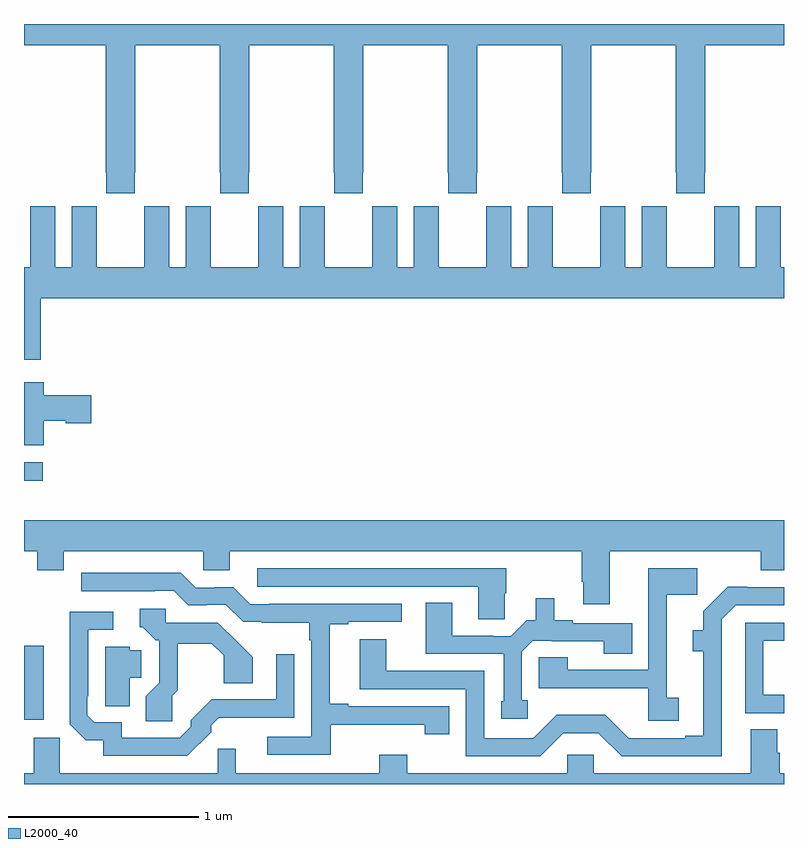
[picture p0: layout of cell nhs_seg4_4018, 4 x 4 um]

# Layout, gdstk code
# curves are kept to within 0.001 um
import gdstk
lib = gdstk.Library(unit=1e-6, precision=1e-09)
def R(c, l, rs):  # rectangles x0, y0, x1, y1
    for r in rs: c.add(gdstk.rectangle(r[:2], r[2:], *l))
def P(c, l, *ps):  # polygons
    for p in ps: c.add(gdstk.Polygon(p, *l))
L2000_40 = (2000, 40)

nhs_seg4_4018 = lib.new_cell('nhs_seg4_4018')
R(nhs_seg4_4018, L2000_40, [(323,825.239,323.104,825.628), (323,826.497,323.098,826.593)])
P(nhs_seg4_4018, L2000_40, [(323.583,828.121),(323.586,828.121),(323.586,828.788),(324.031,828.788),(324.031,828.121),(324.033,828.121),(324.033,828.009),(324.183,828.009),(324.183,828.121),(324.186,828.121),(324.186,828.788),(324.631,828.788),(324.631,828.121),(324.633,828.121),(324.633,828.009),(324.783,828.009),(324.783,828.121),(324.786,828.121),(324.786,828.788),(325.231,828.788),(325.231,828.121),(325.233,828.121),(325.233,828.009),(325.383,828.009),(325.383,828.121),(325.386,828.121),(325.386,828.788),(325.831,828.788),(325.831,828.121),(325.833,828.121),(325.833,828.009),(325.983,828.009),(325.983,828.121),(325.986,828.121),(325.986,828.788),(326.431,828.788),(326.431,828.121),(326.433,828.121),(326.433,828.009),(326.583,828.009),(326.583,828.121),(326.586,828.121),(326.586,828.788),(327,828.788),(327,828.9),(323,828.9),(323,828.788),(323.431,828.788),(323.431,828.121),(323.433,828.121),(323.433,828.009),(323.583,828.009)],
  [(323.087,827.456),(327,827.456),(327,827.62),(326.983,827.62),(326.983,827.828),(326.982,827.828),(326.982,827.941),(326.852,827.941),(326.852,827.62),(326.764,827.62),(326.764,827.941),(326.634,827.941),(326.634,827.828),(326.633,827.828),(326.633,827.62),(326.383,827.62),(326.383,827.828),(326.382,827.828),(326.382,827.941),(326.252,827.941),(326.252,827.62),(326.164,827.62),(326.164,827.941),(326.034,827.941),(326.034,827.828),(326.033,827.828),(326.033,827.62),(325.783,827.62),(325.783,827.828),(325.782,827.828),(325.782,827.941),(325.652,827.941),(325.652,827.62),(325.564,827.62),(325.564,827.941),(325.434,827.941),(325.434,827.828),(325.433,827.828),(325.433,827.62),(325.183,827.62),(325.183,827.828),(325.182,827.828),(325.182,827.941),(325.052,827.941),(325.052,827.62),(324.964,827.62),(324.964,827.941),(324.834,827.941),(324.834,827.828),(324.833,827.828),(324.833,827.62),(324.583,827.62),(324.583,827.828),(324.582,827.828),(324.582,827.941),(324.452,827.941),(324.452,827.62),(324.364,827.62),(324.364,827.941),(324.234,827.941),(324.234,827.828),(324.233,827.828),(324.233,827.62),(323.983,827.62),(323.983,827.828),(323.982,827.828),(323.982,827.941),(323.852,827.941),(323.852,827.62),(323.764,827.62),(323.764,827.941),(323.634,827.941),(323.634,827.828),(323.633,827.828),(323.633,827.62),(323.383,827.62),(323.383,827.828),(323.382,827.828),(323.382,827.941),(323.252,827.941),(323.252,827.62),(323.164,827.62),(323.164,827.941),(323.034,827.941),(323.034,827.828),(323.033,827.828),(323.033,827.62),(323,827.62),(323,827.133),(323.087,827.133)],
  [(323.104,826.811),(323.22,826.811),(323.22,826.799),(323.353,826.799),(323.353,826.946),(323.104,826.946),(323.104,827.014),(323,827.014),(323,826.682),(323.104,826.682)],
  [(326.083,826.124),(326.878,826.124),(326.878,826.025),(327,826.025),(327,826.288),(323,826.288),(323,826.124),(323.069,826.124),(323.069,826.025),(323.209,826.025),(323.209,826.124),(323.943,826.124),(323.943,826.026),(324.082,826.026),(324.082,826.124),(325.936,826.124),(325.936,825.964),(325.943,825.964),(325.943,825.846),(326.083,825.846)],
  [(326.446,825.354),(326.383,825.354),(326.383,825.897),(326.544,825.897),(326.544,826.036),(326.286,826.036),(326.286,825.501),(325.863,825.501),(325.863,825.566),(325.709,825.566),(325.709,825.405),(325.819,825.405),(325.819,825.404),(326.286,825.404),(326.286,825.234),(326.446,825.234)],
  [(325.529,825.903),(325.539,825.903),(325.539,826.035),(324.228,826.035),(324.228,825.939),(325.391,825.939),(325.391,825.766),(325.529,825.766)],
  [(324.614,825.212),(325.109,825.212),(325.109,825.162),(325.237,825.162),(325.237,825.309),(324.706,825.309),(324.706,825.322),(324.61,825.322),(324.61,825.741),(324.706,825.741),(324.706,825.753),(324.988,825.753),(324.988,825.849),(324.292,825.849),(324.292,825.846),(324.192,825.846),(324.102,825.936),(324.005,825.936),(324.005,825.933),(323.904,825.933),(323.825,826.012),(323.301,826.011),(323.301,825.915),(323.687,825.915),(323.687,825.918),(323.787,825.918),(323.865,825.84),(323.963,825.84),(323.963,825.843),(324.063,825.843),(324.153,825.753),(324.25,825.753),(324.25,825.75),(324.501,825.75),(324.501,825.656),(324.513,825.656),(324.513,825.15),(324.279,825.15),(324.279,825.054),(324.614,825.054)],
  [(325.839,825.168),(326.022,825.168),(326.145,825.045),(326.673,825.045),(326.673,825.768),(326.745,825.84),(327,825.84),(327,825.936),(326.806,825.936),(326.806,825.938),(326.705,825.938),(326.576,825.808),(326.576,825.71),(326.519,825.71),(326.519,825.6),(326.576,825.6),(326.576,825.154),(326.48,825.154),(326.48,825.141),(326.182,825.141),(326.058,825.265),(325.804,825.265),(325.68,825.141),(325.422,825.141),(325.422,825.495),(324.907,825.495),(324.907,825.661),(324.767,825.661),(324.767,825.399),(325.326,825.399),(325.326,825.045),(325.716,825.045)],
  [(325.65,825.342),(325.62,825.342),(325.62,825.597),(325.677,825.654),(325.777,825.654),(325.777,825.651),(326.05,825.651),(326.05,825.586),(326.201,825.586),(326.201,825.747),(325.888,825.747),(325.888,825.762),(325.792,825.762),(325.792,825.877),(325.694,825.877),(325.694,825.762),(325.647,825.762),(325.563,825.678),(325.469,825.678),(325.469,825.681),(325.255,825.681),(325.255,825.854),(325.115,825.854),(325.115,825.585),(325.524,825.585),(325.524,825.336),(325.511,825.336),(325.511,825.243),(325.65,825.243)],
  [(323.781,825.365),(323.81,825.394),(323.81,825.639),(323.989,825.639),(324.051,825.578),(324.051,825.43),(324.205,825.43),(324.205,825.566),(324.019,825.75),(323.745,825.75),(323.745,825.822),(323.609,825.822),(323.609,825.726),(323.625,825.726),(323.694,825.657),(323.712,825.657),(323.712,825.432),(323.642,825.362),(323.642,825.231),(323.781,825.231)],
  [(323.986,825.173),(323.986,825.208),(324.026,825.248),(324.423,825.249),(324.423,825.583),(324.327,825.583),(324.327,825.345),(323.987,825.345),(323.877,825.235),(323.877,825.201),(323.82,825.144),(323.514,825.144),(323.514,825.225),(323.37,825.225),(323.334,825.261),(323.334,825.361),(323.337,825.361),(323.337,825.711),(323.47,825.711),(323.47,825.807),(323.24,825.807),(323.24,825.215),(323.326,825.129),(323.416,825.129),(323.416,825.048),(323.86,825.048)],
  [(327,825.369),(326.892,825.369),(326.892,825.654),(327,825.654),(327,825.75),(326.796,825.75),(326.796,825.273),(327,825.273)],
  [(323.557,825.458),(323.616,825.458),(323.616,825.603),(323.556,825.603),(323.556,825.622),(323.427,825.622),(323.427,825.31),(323.557,825.31)],
  [(325.998,825.054),(325.86,825.054),(325.86,824.956),(325.017,824.956),(325.017,825.055),(324.869,825.055),(324.869,824.956),(324.115,824.956),(324.115,825.086),(324.019,825.086),(324.019,824.956),(323.189,824.956),(323.189,825.144),(323.051,825.144),(323.051,824.956),(323,824.956),(323,824.9),(327,824.9),(327,824.956),(326.978,824.956),(326.978,825.065),(326.964,825.065),(326.964,825.188),(326.825,825.188),(326.825,824.956),(325.998,824.956)])

lib.write_gds('nhs_seg4_4018.gds')
